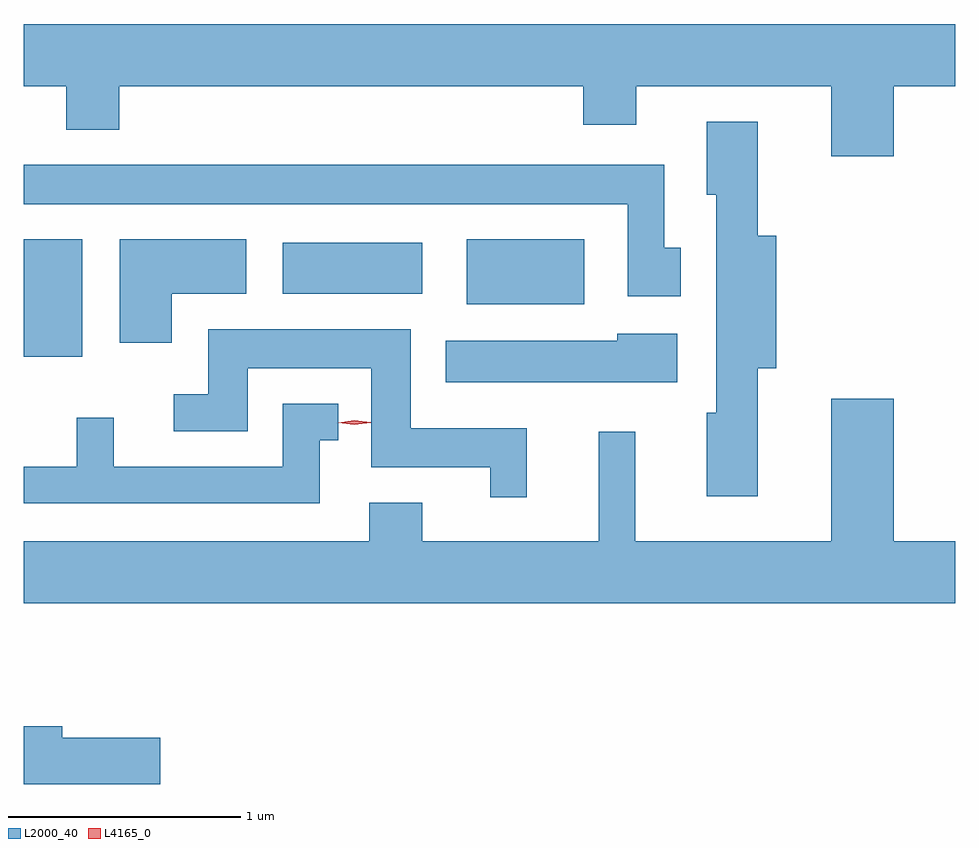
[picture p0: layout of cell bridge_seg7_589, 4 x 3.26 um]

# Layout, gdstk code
import gdstk
lib = gdstk.Library(unit=1e-6, precision=1e-09)
def R(c, l, rs):  # rectangles x0, y0, x1, y1
    for r in rs: c.add(gdstk.rectangle(r[:2], r[2:], *l))
def P(c, l, *ps):  # polygons
    for p in ps: c.add(gdstk.Polygon(p, *l))
L2000_40 = (2000, 40)
L4165_0 = (4165, 0)

bridge_seg7_589 = lib.new_cell('bridge_seg7_589')
R(bridge_seg7_589, L2000_40, [(711.108,1777.536,711.359,1778.039), (713.011,1777.761,713.514,1778.039), (712.221,1777.806,712.819,1778.024)])
P(bridge_seg7_589, L2000_40, [(714.844,1778.696),(715.108,1778.696),(715.108,1778.964),(711.108,1778.964),(711.108,1778.696),(711.291,1778.696),(711.291,1778.511),(711.519,1778.511),(711.519,1778.696),(713.511,1778.696),(713.511,1778.531),(713.739,1778.531),(713.739,1778.696),(714.576,1778.696),(714.576,1778.396),(714.844,1778.396)],
  [(714.259,1777.486),(714.339,1777.486),(714.339,1778.054),(714.259,1778.054),(714.259,1778.544),(714.041,1778.544),(714.041,1778.231),(714.081,1778.231),(714.081,1777.294),(714.041,1777.294),(714.041,1776.936),(714.259,1776.936)],
  [(713.929,1778.004),(713.859,1778.004),(713.859,1778.359),(711.108,1778.359),(711.108,1778.191),(713.701,1778.191),(713.701,1777.796),(713.929,1777.796)],
  [(711.744,1777.806),(712.064,1777.806),(712.064,1778.039),(711.521,1778.039),(711.521,1777.596),(711.744,1777.596)],
  [(713.269,1777.229),(712.769,1777.229),(712.769,1777.654),(711.901,1777.654),(711.901,1777.374),(711.753,1777.374),(711.753,1777.216),(712.069,1777.216),(712.069,1777.486),(712.601,1777.486),(712.601,1777.061),(713.111,1777.061),(713.111,1776.933),(713.269,1776.933)],
  [(713.914,1777.634),(713.656,1777.634),(713.656,1777.604),(712.921,1777.604),(712.921,1777.426),(713.914,1777.426)],
  [(712.591,1776.909),(712.591,1776.744),(711.108,1776.744),(711.108,1776.476),(715.108,1776.476),(715.108,1776.744),(714.844,1776.744),(714.844,1777.354),(714.576,1777.354),(714.576,1776.744),(713.734,1776.744),(713.734,1777.213),(713.576,1777.213),(713.576,1776.744),(712.819,1776.744),(712.819,1776.909)],
  [(712.379,1777.176),(712.458,1777.176),(712.458,1777.334),(712.221,1777.334),(712.221,1777.064),(711.494,1777.064),(711.494,1777.273),(711.336,1777.273),(711.336,1777.064),(711.108,1777.064),(711.108,1776.906),(712.379,1776.906)],
  [(711.694,1775.899),(711.274,1775.899),(711.274,1775.949),(711.108,1775.949),(711.108,1775.701),(711.694,1775.701)])
P(bridge_seg7_589, L4165_0, [(712.528,1777.243),(712.459,1777.252),(712.459,1777.253),(712.459,1777.253),(712.528,1777.263),(712.598,1777.254),(712.598,1777.254),(712.598,1777.253)])

lib.write_gds('bridge_seg7_589.gds')
